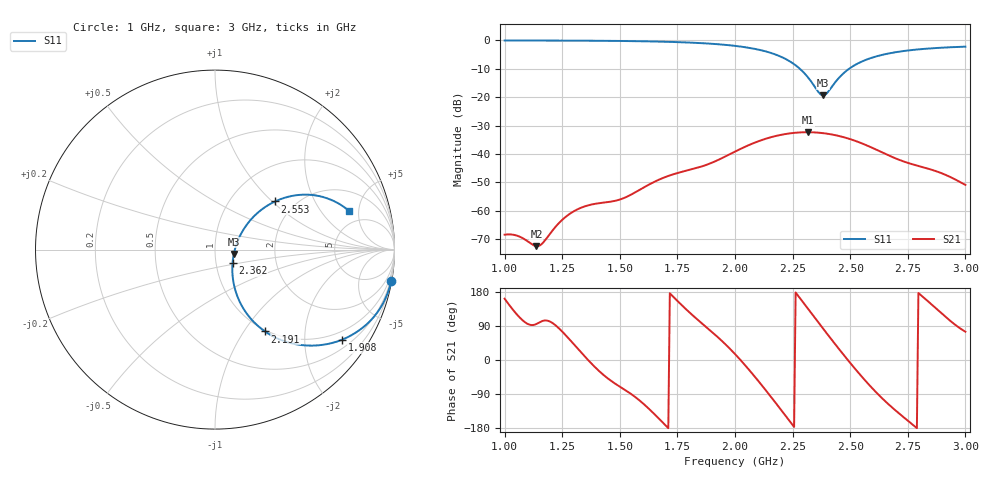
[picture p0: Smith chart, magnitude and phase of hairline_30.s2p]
! TOUCHSTONE file generated by CST MICROWAVE STUDIO
! Date and time: Tue Mar 18 20:31:48 2025
! Project name: hairline.cst
! Parameters = {B=12.5; D=160; F=15; Feed=2.85625; Fracture=2; L=100; M=50; R=0.384908; S=1.5; Theta=180; length=57.125; wave=114.25}
! Header version: 2024
! Port assignment regex: !\s*Touchstone port\s*([0-9]+)\s*=\s*(CST MWS port|CST DES external port|CST DES block port)\s*(.+)\s* \(\"(.*)\"\)(\s*mode\s*([0-9]+))?.*
! Touchstone port assignment:
! Touchstone port 1 = CST MWS port 1 ("")
! Touchstone port 2 = CST MWS port 2 ("")
# GHz S DB R 50
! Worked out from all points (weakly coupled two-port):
!   305 points, 1 GHz to 3 GHz, reference 50 ohm
!   highest |S21| = -32.32 dB at 2.316 GHz (marker M1); lowest = -72.4 dB at 1.138 GHz (marker M2)
!   lowest |S11| = -19.4 dB at 2.382 GHz (marker M3), VSWR 1.24, Z = 61.6 - j3.09 ohm
!   |S11| at or under -10 dB: 2.282 GHz to 2.495 GHz (213.5 MHz wide, 8.94 % of centre)
!   S12 and S22 are empty: the file has one direction only
!   S11 on the Smith chart (normalised r, x): 1 GHz: 0, -11; 1.908 GHz: 0.73, -2.97; 2.191 GHz: 0.98, -1.25; 2.362 GHz: 1.20, -0.19; 2.553 GHz: 1.58, +1.04; 3 GHz: 3.57, +3.88
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1  -0.02 -10.0  -68.40 161.7  -200.00 0.0  -200.00 0.0
1.05921  -0.03 -10.8  -68.89 116.2  -200.00 0.0  -200.00 0.0
1.13816  -0.04 -12.0  -72.44 95.1  -200.00 0.0  -200.00 0.0
1.16447  -0.04 -12.4  -71.43 103.1  -200.00 0.0  -200.00 0.0
1.25658  -0.07 -14.0  -62.70 70.9  -200.00 0.0  -200.00 0.0
1.33553  -0.10 -15.5  -58.80 17.6  -200.00 0.0  -200.00 0.0
1.50658  -0.20 -19.4  -55.85 -72.8  -200.00 0.0  -200.00 0.0
1.67105  -0.42 -24.5  -48.99 -155.5  -200.00 0.0  -200.00 0.0
1.90789  -1.23 -35.4  -42.78 69.7  -200.00 0.0  -200.00 0.0
2  -1.92 -41.4  -39.15 15.8  -200.00 0.0  -200.00 0.0
2.19079  -5.45 -58.6  -33.39 -124.4  -200.00 0.0  -200.00 0.0
2.26316  -8.77 -64.3  -32.51 178.1  -200.00 0.0  -200.00 0.0
2.31579  -12.91 -61.9  -32.32 135.9  -200.00 0.0  -200.00 0.0
2.33553  -15.05 -56.3  -32.36 120.1  -200.00 0.0  -200.00 0.0
2.36184  -18.13 -38.1  -32.48 99.1  -200.00 0.0  -200.00 0.0
2.38158  -19.36 -13.3  -32.64 83.4  -200.00 0.0  -200.00 0.0
2.40132  -18.38 11.8  -32.86 67.9  -200.00 0.0  -200.00 0.0
2.47368  -11.38 40.2  -34.12 11.9  -200.00 0.0  -200.00 0.0
2.55263  -7.37 38.7  -36.31 -45.6  -200.00 0.0  -200.00 0.0
2.67105  -4.53 31.1  -40.63 -119.5  -200.00 0.0  -200.00 0.0
2.89474  -2.58 19.7  -46.70 124.0  -200.00 0.0  -200.00 0.0
3  -2.20 16.1  -50.87 74.6  -200.00 0.0  -200.00 0.0
